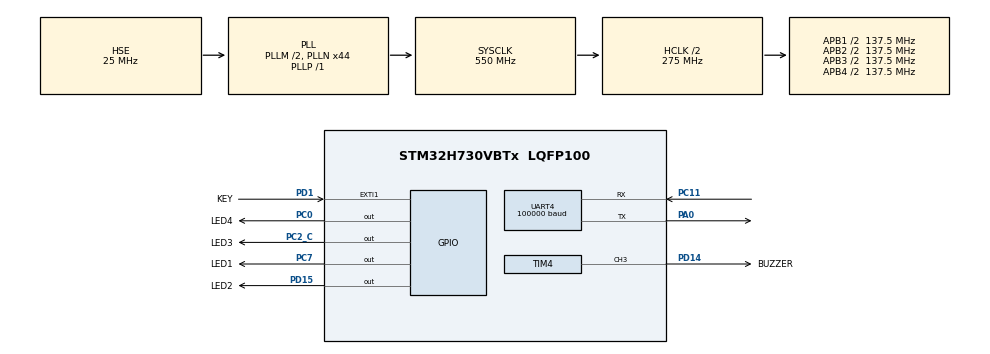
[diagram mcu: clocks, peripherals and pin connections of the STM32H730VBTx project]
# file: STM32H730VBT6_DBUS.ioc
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CORTEX_M7.Enable_Spec=__NULL
CORTEX_M7.MPU_Control=__NULL
CORTEX_M7.default_mode_Activation=1
Dma.Request0=UART4_RX
Dma.UART4_RX.0.Direction=DMA_PERIPH_TO_MEMORY
Dma.UART4_RX.0.EventEnable=DISABLE
Dma.UART4_RX.0.FIFOMode=DMA_FIFOMODE_DISABLE
Dma.UART4_RX.0.Instance=DMA1_Stream0
Dma.UART4_RX.0.MemDataAlignment=DMA_MDATAALIGN_BYTE
Dma.UART4_RX.0.MemInc=DMA_MINC_ENABLE
Dma.UART4_RX.0.Mode=DMA_CIRCULAR
Dma.UART4_RX.0.PeriphDataAlignment=DMA_PDATAALIGN_BYTE
Dma.UART4_RX.0.PeriphInc=DMA_PINC_DISABLE
Dma.UART4_RX.0.Polarity=HAL_DMAMUX_REQ_GEN_RISING
Dma.UART4_RX.0.Priority=DMA_PRIORITY_VERY_HIGH
Dma.UART4_RX.0.RequestNumber=1
Dma.UART4_RX.0.SignalID=NONE
Dma.UART4_RX.0.SyncEnable=DISABLE
Dma.UART4_RX.0.SyncPolarity=HAL_DMAMUX_SYNC_NO_EVENT
Dma.UART4_RX.0.SyncRequestNumber=1
Dma.UART4_RX.0.SyncSignalID=NONE
Mcu.Family=STM32H7
Mcu.Name=STM32H730VBTx
Mcu.Package=LQFP100
NVIC.DMA1_Stream0_IRQn=true\:0\:0\:false\:false\:true\:false\:true\:true
NVIC.EXTI1_IRQn=true\:0\:0\:false\:false\:true\:true\:true\:true
NVIC.PriorityGroup=NVIC_PRIORITYGROUP_4
NVIC.UART4_IRQn=true\:0\:0\:false\:false\:true\:true\:true\:true
PA0.GPIO_PuPd=GPIO_PULLUP
PA0.GPIO_Speed=GPIO_SPEED_FREQ_VERY_HIGH
PA0.Mode=Asynchronous
PA0.Signal=UART4_TX
PA13(JTMS/SWDIO).Mode=Serial_Wire
PA13(JTMS/SWDIO).Signal=DEBUG_JTMS-SWDIO
PA14(JTCK/SWCLK).Mode=Serial_Wire
PA14(JTCK/SWCLK).Signal=DEBUG_JTCK-SWCLK
PC0.GPIO_Label=LED4
PC0.Signal=GPIO_Output
PC11.GPIO_PuPd=GPIO_PULLUP
PC11.GPIO_Speed=GPIO_SPEED_FREQ_VERY_HIGH
PC11.Mode=Asynchronous
PC11.Signal=UART4_RX
PC14-OSC32_IN.Mode=LSE-External-Oscillator
PC14-OSC32_IN.Signal=RCC_OSC32_IN
PC15-OSC32_OUT.Mode=LSE-External-Oscillator
PC15-OSC32_OUT.Signal=RCC_OSC32_OUT
PC2_C.GPIO_Label=LED3
PC2_C.Signal=GPIO_Output
PC7.GPIO_Label=LED1
PC7.Signal=GPIO_Output
PD1.GPIO_Label=KEY
PD1.GPIO_ModeDefaultEXTI=GPIO_MODE_IT_FALLING
PD1.Signal=GPXTI1
PD14.GPIO_Label=BUZZER
PD14.Signal=S_TIM4_CH3
PD15.GPIO_Label=LED2
PD15.Signal=GPIO_Output
PH0-OSC_IN.Mode=HSE-External-Oscillator
PH0-OSC_IN.Signal=RCC_OSC_IN
PH1-OSC_OUT.Mode=HSE-External-Oscillator
PH1-OSC_OUT.Signal=RCC_OSC_OUT
ProjectManager.HeapSize=0x200
ProjectManager.StackSize=0x400
ProjectManager.TargetToolchain=STM32CubeIDE
RCC.ADCFreq_Value=50390625
RCC.APB1Freq_Value=137500000
RCC.APB2Freq_Value=137500000
RCC.APB3Freq_Value=137500000
RCC.APB4Freq_Value=137500000
RCC.CortexFreq_Value=550000000
RCC.D1PPRE=RCC_APB3_DIV2
RCC.D2PPRE1=RCC_APB1_DIV2
RCC.D2PPRE2=RCC_APB2_DIV2
RCC.D3PPRE=RCC_APB4_DIV2
RCC.DIVM1=2
RCC.DIVN1=44
RCC.DIVP1=1
RCC.HCLKFreq_Value=275000000
RCC.HPRE=RCC_HCLK_DIV2
RCC.PLL2FRACN=0
RCC.PLL3FRACN=0
RCC.PLLFRACN=0
RCC.PLLSourceVirtual=RCC_PLLSOURCE_HSE
RCC.SYSCLKFreq_VALUE=550000000
RCC.SYSCLKSource=RCC_SYSCLKSOURCE_PLLCLK
RCC.USART234578CLockSelection=RCC_USART234578CLKSOURCE_HSI
RCC.USBFreq_Value=275000000
SH.S_TIM4_CH3.0=TIM4_CH3,PWM Generation3 CH3
TIM4.AutoReloadPreload=TIM_AUTORELOAD_PRELOAD_ENABLE
TIM4.Channel-PWM\ Generation3\ CH3=TIM_CHANNEL_3
TIM4.OCFastMode_PWM-PWM\ Generation3\ CH3=TIM_OCFAST_ENABLE
TIM4.Period=10999
TIM4.Prescaler=49
UART4.BaudRate=100000
UART4.DMADisableonRxErrorParam=UART_ADVFEATURE_DMA_DISABLEONRXERROR
UART4.Mode=MODE_RX
UART4.OneBitSampling=UART_ONE_BIT_SAMPLE_DISABLE
UART4.OverrunDisableParam=UART_ADVFEATURE_OVERRUN_DISABLE
UART4.Parity=PARITY_EVEN
UART4.WordLength=WORDLENGTH_9B
board=custom

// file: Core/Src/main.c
/* USER CODE BEGIN Header */
/**
 ******************************************************************************
 * @file           : main.c
 * @brief          : Main program body
 ******************************************************************************
 * @attention
 *
 * Copyright (c) 2024 STMicroelectronics.
 * All rights reserved.
 *
 * This software is licensed under terms that can be found in the LICENSE file
 * in the root directory of this software component.
 * If no LICENSE file comes with this software, it is provided AS-IS.
 *
 ******************************************************************************
 */
/* USER CODE END Header */
#include "main.h"
#include "dma.h"
#include "tim.h"
#include "usart.h"
#include "gpio.h"

/* USER CODE BEGIN Includes */
#include "BUZZER.h"
#include "remote_control.h"
/* USER CODE END Includes */

void SystemClock_Config(void);

int main(void)
{

  /* MCU Configuration--------------------------------------------------------*/

  /* Reset of all peripherals, Initializes the Flash interface and the Systick. */
  HAL_Init();

  /* Configure the system clock */
  SystemClock_Config();

  /* Initialize all configured peripherals */
  MX_GPIO_Init();
  MX_DMA_Init();
  MX_UART4_Init();
  MX_TIM4_Init();
  /* USER CODE BEGIN 2 */
    HAL_TIM_Base_Start_IT(&htim4);

    BUZZER_0N(400);
    HAL_Delay(100);
    BUZZER_Stop();
    HAL_Delay(100);
    BUZZER_0N(500);
    HAL_Delay(100);
    BUZZER_Stop();
    BUZZER_0N(700);
    HAL_Delay(114);
    BUZZER_Stop();
    HAL_UARTEx_ReceiveToIdle_DMA(&huart4, rx_buff,18);
  /* USER CODE END 2 */

  /* Infinite loop */
  /* USER CODE BEGIN WHILE */
    while (1) {
        if (HAL_GPIO_ReadPin(KEY_GPIO_Port, KEY_Pin)) {
            BUZZER_Stop();
        } else {
            BUZZER_0N(114);
        }

    /* USER CODE END WHILE */

    }
}

void SystemClock_Config(void)
{
  RCC_OscInitTypeDef RCC_OscInitStruct = {0};
  RCC_ClkInitTypeDef RCC_ClkInitStruct = {0};

  /** Supply configuration update enable
  */
  HAL_PWREx_ConfigSupply(PWR_LDO_SUPPLY);

  /** Configure the main internal regulator output voltage
  */
  __HAL_PWR_VOLTAGESCALING_CONFIG(PWR_REGULATOR_VOLTAGE_SCALE0);

  while(!__HAL_PWR_GET_FLAG(PWR_FLAG_VOSRDY)) {}

  /** Initializes the RCC Oscillators according to the specified parameters
  * in the RCC_OscInitTypeDef structure.
  */
  RCC_OscInitStruct.OscillatorType = RCC_OSCILLATORTYPE_HSI|RCC_OSCILLATORTYPE_HSE;
  RCC_OscInitStruct.HSEState = RCC_HSE_ON;
  RCC_OscInitStruct.HSIState = RCC_HSI_DIV1;
  RCC_OscInitStruct.HSICalibrationValue = 64;
  RCC_OscInitStruct.PLL.PLLState = RCC_PLL_ON;
  RCC_OscInitStruct.PLL.PLLSource = RCC_PLLSOURCE_HSE;
  RCC_OscInitStruct.PLL.PLLM = 2;
  RCC_OscInitStruct.PLL.PLLN = 44;
  RCC_OscInitStruct.PLL.PLLP = 1;
  RCC_OscInitStruct.PLL.PLLQ = 2;
  RCC_OscInitStruct.PLL.PLLR = 2;
  RCC_OscInitStruct.PLL.PLLRGE = RCC_PLL1VCIRANGE_3;
  RCC_OscInitStruct.PLL.PLLVCOSEL = RCC_PLL1VCOWIDE;
  RCC_OscInitStruct.PLL.PLLFRACN = 0;
  if (HAL_RCC_OscConfig(&RCC_OscInitStruct) != HAL_OK)
  {
    Error_Handler();
  }

  /** Initializes the CPU, AHB and APB buses clocks
  */
  RCC_ClkInitStruct.ClockType = RCC_CLOCKTYPE_HCLK|RCC_CLOCKTYPE_SYSCLK
                              |RCC_CLOCKTYPE_PCLK1|RCC_CLOCKTYPE_PCLK2
                              |RCC_CLOCKTYPE_D3PCLK1|RCC_CLOCKTYPE_D1PCLK1;
  RCC_ClkInitStruct.SYSCLKSource = RCC_SYSCLKSOURCE_PLLCLK;
  RCC_ClkInitStruct.SYSCLKDivider = RCC_SYSCLK_DIV1;
  RCC_ClkInitStruct.AHBCLKDivider = RCC_HCLK_DIV2;
  RCC_ClkInitStruct.APB3CLKDivider = RCC_APB3_DIV2;
  RCC_ClkInitStruct.APB1CLKDivider = RCC_APB1_DIV2;
  RCC_ClkInitStruct.APB2CLKDivider = RCC_APB2_DIV2;
  RCC_ClkInitStruct.APB4CLKDivider = RCC_APB4_DIV2;

  if (HAL_RCC_ClockConfig(&RCC_ClkInitStruct, FLASH_LATENCY_3) != HAL_OK)
  {
    Error_Handler();
  }
}

void Error_Handler(void)
{
    __disable_irq();
    while (1) {
    }
}
